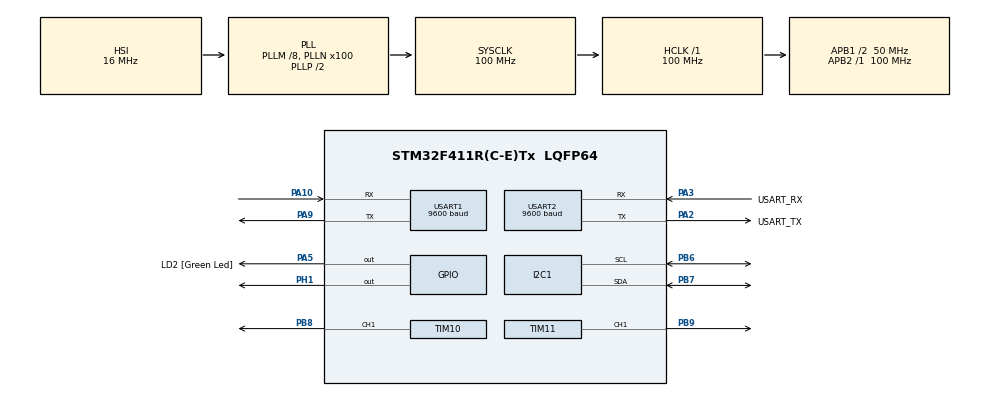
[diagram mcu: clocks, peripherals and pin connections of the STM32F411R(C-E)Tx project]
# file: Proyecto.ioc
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Dma.Request0=USART2_RX
Dma.Request1=USART2_TX
Dma.USART2_RX.0.Direction=DMA_PERIPH_TO_MEMORY
Dma.USART2_RX.0.FIFOMode=DMA_FIFOMODE_DISABLE
Dma.USART2_RX.0.Instance=DMA1_Stream5
Dma.USART2_RX.0.MemDataAlignment=DMA_MDATAALIGN_BYTE
Dma.USART2_RX.0.MemInc=DMA_MINC_ENABLE
Dma.USART2_RX.0.Mode=DMA_NORMAL
Dma.USART2_RX.0.PeriphDataAlignment=DMA_PDATAALIGN_BYTE
Dma.USART2_RX.0.PeriphInc=DMA_PINC_DISABLE
Dma.USART2_RX.0.Priority=DMA_PRIORITY_LOW
Dma.USART2_TX.1.Direction=DMA_MEMORY_TO_PERIPH
Dma.USART2_TX.1.FIFOMode=DMA_FIFOMODE_DISABLE
Dma.USART2_TX.1.Instance=DMA1_Stream6
Dma.USART2_TX.1.MemDataAlignment=DMA_MDATAALIGN_BYTE
Dma.USART2_TX.1.MemInc=DMA_MINC_ENABLE
Dma.USART2_TX.1.Mode=DMA_NORMAL
Dma.USART2_TX.1.PeriphDataAlignment=DMA_PDATAALIGN_BYTE
Dma.USART2_TX.1.PeriphInc=DMA_PINC_DISABLE
Dma.USART2_TX.1.Priority=DMA_PRIORITY_LOW
Mcu.Family=STM32F4
Mcu.Name=STM32F411R(C-E)Tx
Mcu.Package=LQFP64
NVIC.DMA1_Stream5_IRQn=true\:0\:0\:false\:false\:true\:false\:true\:true
NVIC.DMA1_Stream6_IRQn=true\:0\:0\:false\:false\:true\:false\:true\:true
NVIC.PriorityGroup=NVIC_PRIORITYGROUP_0
NVIC.TIM1_UP_TIM10_IRQn=true\:0\:0\:false\:false\:true\:true\:true\:true
NVIC.USART1_IRQn=true\:0\:0\:false\:false\:true\:true\:true\:true
NVIC.USART2_IRQn=true\:0\:0\:false\:false\:true\:true\:true\:true
PA10.Mode=Asynchronous
PA10.Signal=USART1_RX
PA2.GPIO_Label=USART_TX
PA2.Mode=Asynchronous
PA2.Signal=USART2_TX
PA3.GPIO_Label=USART_RX
PA3.Mode=Asynchronous
PA3.Signal=USART2_RX
PA5.GPIO_Label=LD2 [Green Led]
PA5.Signal=GPIO_Output
PA9.Mode=Asynchronous
PA9.Signal=USART1_TX
PB6.Mode=I2C
PB6.Signal=I2C1_SCL
PB7.Mode=I2C
PB7.Signal=I2C1_SDA
PB8.Signal=S_TIM10_CH1
PB9.Signal=S_TIM11_CH1
PH1\ -\ OSC_OUT.Signal=GPIO_Output
ProjectManager.HeapSize=0x200
ProjectManager.StackSize=0x400
ProjectManager.TargetToolchain=STM32CubeIDE
RCC.48MHZClocksFreq_Value=50000000
RCC.AHBFreq_Value=100000000
RCC.APB1CLKDivider=RCC_HCLK_DIV2
RCC.APB1Freq_Value=50000000
RCC.APB1TimFreq_Value=100000000
RCC.APB2Freq_Value=100000000
RCC.APB2TimFreq_Value=100000000
RCC.CortexFreq_Value=100000000
RCC.FLatency-AdvancedSettings=FLASH_LATENCY_3
RCC.HCLKFreq_Value=100000000
RCC.HSE_VALUE=8000000
RCC.HSI_VALUE=16000000
RCC.LSE_VALUE=32768
RCC.PLLM=8
RCC.PLLN=100
RCC.SYSCLKFreq_VALUE=100000000
RCC.SYSCLKSource=RCC_SYSCLKSOURCE_PLLCLK
RCC.VCOOutputFreq_Value=200000000
SH.S_TIM10_CH1.0=TIM10_CH1,PWM Generation1 CH1
SH.S_TIM11_CH1.0=TIM11_CH1,PWM Generation1 CH1
TIM1.Period=5000
TIM1.Prescaler=10000
TIM10.AutoReloadPreload=TIM_AUTORELOAD_PRELOAD_ENABLE
TIM10.Channel=TIM_CHANNEL_1
TIM10.OCPolarity_1=TIM_OCPOLARITY_LOW
TIM10.Period=20000
TIM10.Prescaler=100
TIM10.Pulse=1500
TIM11.AutoReloadPreload=TIM_AUTORELOAD_PRELOAD_ENABLE
TIM11.Channel=TIM_CHANNEL_1
TIM11.OCPolarity_1=TIM_OCPOLARITY_LOW
TIM11.Period=20000
TIM11.Prescaler=100
TIM11.Pulse=1500
USART1.BaudRate=9600
USART1.VirtualMode=VM_ASYNC
USART2.BaudRate=9600
USART2.VirtualMode=VM_ASYNC
VP_TIM10_VS_ClockSourceINT.Mode=Enable_Timer
VP_TIM11_VS_ClockSourceINT.Mode=Enable_Timer
VP_TIM1_VS_ClockSourceINT.Mode=Internal
board=NUCLEO-F411RE

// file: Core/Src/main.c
/* USER CODE BEGIN Header */
/**
  ******************************************************************************
  * @file           : main.c
  * @brief          : Main program body
  ******************************************************************************
  * @attention
  *
  * Copyright (c) 2025 STMicroelectronics.
  * All rights reserved.
  *
  * This software is licensed under terms that can be found in the LICENSE file
  * in the root directory of this software component.
  * If no LICENSE file comes with this software, it is provided AS-IS.
  *
  ******************************************************************************
  */
/* USER CODE END Header */
#include "main.h"

/* USER CODE BEGIN Includes */
#include "LiquidCrystal_I2C.h"
#include <math.h>
#include <stdio.h>
#include <stdlib.h>
#include <string.h>
/* USER CODE END Includes */

/* USER CODE BEGIN PD */
#define PI 3.14159265358979323846
#define DEFAULT_TIMEZONE -5 // Asumimos Colombia mientras busca satélites
#define RAD(d) ((d) * (PI / 180.0))
#define DEG(r) ((r) * (180.0 / PI))
#define MAXBUFFER 256 // define el tamaño maximo del buffer de comandos

//servos
#define SERVO_MIN_PWM 500  // Equivalente a 0° mecánicos
#define SERVO_MAX_PWM 2500 // Equivalente a 180° mecánicos
#define SERVO_RANGO_PWM (SERVO_MAX_PWM - SERVO_MIN_PWM)
#define UMBRAL_ANTIJUEGO_PWM 1

#define FACTOR_CONVERSION 11.111111f
/* USER CODE END PD */

I2C_HandleTypeDef hi2c1;

TIM_HandleTypeDef htim1;
TIM_HandleTypeDef htim10;
TIM_HandleTypeDef htim11;

UART_HandleTypeDef huart1;
UART_HandleTypeDef huart2;
DMA_HandleTypeDef hdma_usart2_rx;
DMA_HandleTypeDef hdma_usart2_tx;

/* USER CODE BEGIN PV */
LiquidCrystal_I2C_t lcd = {0};
uint8_t rx_byte;                    // Byte temporal de recepción
uint8_t rx_buffer[250];             // Buffer para la frase completa
uint8_t gps_processing_buffer[250]; // Buffer seguro para procesar en main
uint8_t rx_index = 0;               // Índice del buffer
volatile uint8_t flag_gps = 0;      // Bandera de aviso

uint16_t contador = 0;

// variables para control de servos
uint16_t anchoAzimut = 150;
uint16_t anchoElevacion = 150;

// estructuras de datos
char buffer0[40];          // buffer para la hora
char buffer1[40];          // buffer para la fecha
char buffer2[40];          // buffer para la latitud
char buffer3[40];          // buffer para la longitud
char buffer4[40];          // buffer para la elevacion
char buffer5[40];          // buffer para el azimut
char txConsoleBuffer[100]; // buffer para la transmision por consola

typedef struct {
  char hora[12];     // Formato: HHMMSS.SS
  char fecha[10];    // Formato: DDMMYY
  char latitud[15];  // Formato: DDMM.MMMM
  char lat_dir;      // N o S
  char longitud[15]; // Formato: DDDMM.MMMM
  char lon_dir;      // E o W
  uint8_t es_valido; // 1 si el GPS tiene señal (A), 0 si no (V)
  uint8_t
      tiene_hora; // bandera para ver si ya procesamos la hora en algun momento
} GPS_Data_t;

typedef struct {
  // Entradas (Convertidas desde el GPS)
  double latitud_deg;  // Grados decimales (Norte+, Sur-)
  double longitud_deg; // Grados decimales (Este+, Oeste-)
  int utc_ano;         // Ej: 2025
  int utc_mes;
  int utc_dia;
  int utc_hora;
  int utc_min;
  int utc_seg;
  // Salidas (Resultados del algoritmo solar)
  double elevacion; // Grados (0° horizonte, 90° zenit)
  double azimut;    // Grados (0° Norte, 90° Este, 180° Sur...)
} SolarCalc_t;

typedef struct {
  int dia;
  int mes;
  int ano;
  int hora;
  int min;
  int seg;
  int zona_horaria;
} LocalTime_t;

typedef struct {
  const char *commandName; // Nombre del comando (ej. "SETTIME")
  uint8_t commandId;       // Un ID único para cada comando
} CommandEntry;

typedef struct {
  // Banderas de control (0 = Usar GPS, 1 = Usar Manual)
  uint8_t usar_lat_manual;
  uint8_t usar_lon_manual;
  uint8_t simulacion_activa; // 0 = Tiempo Real, 1 = Acelerado

  // Valores manuales
  double lat_manual;
  double lon_manual;

  uint8_t dia_manual;
  uint8_t mes_manual;
  uint16_t anio_manual;
  uint8_t usar_fecha_manual; // 0 = Usar GPS, 1 = Usar Manual

  // Control de tiempo
  int factor_velocidad;       // Ej: 1, 60, 3600...
  LocalTime_t tiempo_interno; // Este es el reloj que corre en el sistema
  uint32_t ultimo_tick;       // Para calcular el delta de tiempo real
} SystemControl_t;

SystemControl_t sys_ctrl = {
    .factor_velocidad = 1,
    .tiempo_interno = {0},
    .ultimo_tick = 0,
    .usar_fecha_manual = 0,
    .dia_manual = 0,
    .mes_manual = 0,
    .anio_manual = 0
    // El resto de campos se ponen a 0 automáticamente si no los listas
};

// Instancia global
//SystemControl_t sys_ctrl = {0, 0, 0, 0.0, 0.0, 1, {0}, 0};

// enumeracion que almacena las identidades de los comandos y les asigna un
// natural
typedef enum {
  COMMANDIDGETLAT,
  COMMANDIDGETLON,
  COMMANDIDGETFEC,
  COMMANDIDGETHOR,
  COMMANDIDGETAZI,
  COMMANDIDGETELE,
  COMMANDIDSETLAT,
  COMMANDIDSETLON,
  COMMANDIDSETFEC,
  COMMANDIDSETVEL,
  COMMANDIDMODEGPS,
  COMMANDIDCLEAR,
  COMMANDIDHELP,
} CommandId;

const CommandEntry commandTable[] = {{"GetLatitud", COMMANDIDGETLAT},   //
                                     {"GetLongitud", COMMANDIDGETLON},  //
                                     {"GetFecha", COMMANDIDGETFEC},     //
                                     {"GetHora", COMMANDIDGETHOR},      //
                                     {"GetAzimut", COMMANDIDGETAZI},    //
                                     {"GetElevacion", COMMANDIDGETELE}, //
                                     {"SetLatitud", COMMANDIDSETLAT},   //
                                     {"SetLongitud", COMMANDIDSETLON},  //
									 {"SetFecha", COMMANDIDSETFEC},
                                     {"SetVelocidad", COMMANDIDSETVEL}, //
                                     {"ModeGPS", COMMANDIDMODEGPS},     //
                                     {"Clear", COMMANDIDCLEAR},         //
                                     {"Help", COMMANDIDHELP}};          //

const char *helpText = // texto del menu de ayuda que se imprime con el comando
                       // HELP o cuando se inicializa el sistema
    "--------------- GUIA DE COMANDOS ---------------\r\n"
    "Los comandos disponibles son:\r\n"
    "  - GetLatitud\r\n"
    "  - GetLongitud\r\n"
    "  - GetFecha\r\n"
    "  - GetHora\r\n"
    "  - GetAzimut\r\n"
    "  - GetElevacion\r\n"
    "  - SetLatitud <Grados decimales> <N/S>\r\n"
    "  - SetLongitud <Grados decimales> <E/W>\r\n"
	"  - SetFecha <dd> <mm> <aaaa>\r\n"
    "  - SetVelocidad <Factor>\r\n"
    "  - ModeGPS\r\n"
    "  - Clear\r\n"
    "  - Help\r\n"
    "------------------------------------------------\r\n";

const uint8_t dias_por_mes[] = {31, 28, 31, 30, 31, 30, 31, 31, 30, 31, 30, 31};
const uint8_t numberOfCommands = sizeof(commandTable) / sizeof(commandTable[0]);
typedef void (*CommandHandlerFunction)(char *parameters[],uint8_t numParameters); // va a guardar las caracteristicas del comando.
                            // Base y arreglo de parametros

GPS_Data_t mi_gps;        // Aqui se guardarán tus resultados
SolarCalc_t gps_solar;    // Aqui guardan los cálculos
LocalTime_t tiempo_local; // Aqui se guarda la hora local en tiempo real

uint8_t dataBufferA[MAXBUFFER]; // buffer de recepcion A
uint8_t dataBufferB[MAXBUFFER]; // buffer de recepcion B
volatile uint8_t currentRxBuffer = 0; // variable que indica el buffer disponilbel.
//0 para dataBufferA, 1 para dataBufferB
volatile uint16_t receivedDataSizeA = 0; // Tamaño datos buffer A
volatile uint16_t receivedDataSizeB = 0; // Tamaño datos buffer B
volatile uint8_t dataBufferAready = 0; // bandera que indica que el buffer A esta listo
volatile uint8_t dataBufferBready = 0; // bandera que indica que el buffer B esta listo
static char *commandParameters[5]; // arreglo que guarda los parametros que vienen con el comando
uint16_t last_pwm_azimut = 150;
uint16_t last_pwm_elevacion = 150;

/* USER CODE END PV */

void SystemClock_Config(void);
static void MX_GPIO_Init(void);
static void MX_DMA_Init(void);
static void MX_I2C1_Init(void);
static void MX_TIM10_Init(void);
static void MX_TIM11_Init(void);
static void MX_USART1_UART_Init(void);
static void MX_USART2_UART_Init(void);
static void MX_TIM1_Init(void);
/* USER CODE BEGIN PFP */
void Procesar_Trama_GPRMC(char *buffer);
void Procesar_Tiempo_GPS(void);
void Procesar_Ubicacion_GPS(void);
void Gestionar_Pantalla(void);
void Calcular_Posicion_Solar(void);
void Calcular_Hora_Local(LocalTime_t *local);
uint8_t es_bisiesto(int ano);
void parseCommand(uint8_t *dataBuffer, uint16_t dataSize);
void processReceivedData(void);
void Actualizar_Coordenadas_Calculo(void);
void Gestionar_Tiempo_Sistema(void);
void Incrementar_Tiempo_Simulado(LocalTime_t *t, int segundos_a_sumar);
void Actualizar_Servos(void);
int constrain_pwm(int valor);
/* USER CODE END PFP */

int main(void)
{

  /* MCU Configuration--------------------------------------------------------*/

  /* Reset of all peripherals, Initializes the Flash interface and the Systick. */
  HAL_Init();

  /* Configure the system clock */
  SystemClock_Config();

  /* Initialize all configured peripherals */
  MX_GPIO_Init();
  MX_DMA_Init();
  MX_I2C1_Init();
  MX_TIM10_Init();
  MX_TIM11_Init();
  MX_USART1_UART_Init();
  MX_USART2_UART_Init();
  MX_TIM1_Init();
  /* USER CODE BEGIN 2 */
  __HAL_DMA_DISABLE_IT(&hdma_usart2_rx, DMA_IT_HT);
  HAL_Delay(50);
  HAL_UART_Transmit_DMA(&huart2, (uint8_t *)helpText, strlen(helpText)); // imprimir el menu de ayuda
  HAL_UARTEx_ReceiveToIdle_DMA(&huart2, dataBufferA, MAXBUFFER); // empezar a escuchar  y almacenar en el buffer A

  LiquidCrystal_I2C_init(&lcd, &hi2c1, 0x23, 20, 4); // se llama a la funcion que inicializa la pantalla
  // se alimenta con el registro de identifiacion: 0x24, 20 caracteres por fila y 4 filas

  LiquidCrystal_I2C_clear(&lcd);
  LiquidCrystal_I2C_setCursor(&lcd, 0, 0); // posiciona el cursor en el primer caracter de la tercera fila
  LiquidCrystal_I2C_print(&lcd, "Se estan recibiendo"); // Longitud: 14 car

  LiquidCrystal_I2C_setCursor(&lcd, 0, 1); // posiciona el cursor en el primer caracter de la cuarta fila
  LiquidCrystal_I2C_print(&lcd, "los datos. Espere."); // Longitud: 8 car

  LiquidCrystal_I2C_setCursor(&lcd, 0, 2); // posiciona el cursor en el primer caracter de la primera fila
  LiquidCrystal_I2C_print(&lcd, "Esto puede tardar"); // Longitud: 12 car

  LiquidCrystal_I2C_setCursor(&lcd, 0, 3); // posiciona el cursos en el primer caracter de la segunda fila
  LiquidCrystal_I2C_print(&lcd, "algunos minutos."); // Longitud: 7 car

  HAL_UART_Receive_IT(&huart1, &rx_byte, 1);

  /* USER CODE END 2 */

  /* Infinite loop */
  /* USER CODE BEGIN WHILE */
  while (1)
  {
	    if (flag_gps == 1) {
	      flag_gps = 0; // Reset bandera

	      // 1. Parsear el texto crudo
	      // Usamos el buffer de procesamiento seguro, no el rx_buffer que puede estar cambiando
	      Procesar_Trama_GPRMC((char *)gps_processing_buffer);

	      // 2. PROCESAMIENTO DE TIEMPO
	      Procesar_Tiempo_GPS(); // el gps manda la hora incluso sin coordednadas espaciales

	      if (!sys_ctrl.simulacion_activa) {
	        Calcular_Hora_Local(&tiempo_local);}

	      // Esto asegura que tanto la pantalla como el cálculo solar usen la fecha
	      if (sys_ctrl.usar_fecha_manual) {
	          tiempo_local.dia = sys_ctrl.dia_manual;
	          tiempo_local.mes = sys_ctrl.mes_manual;
	          tiempo_local.ano = sys_ctrl.anio_manual;}

	      // 3. PROCESAMIENTO DE ESPACIO (Solo si es válido 'A')
	      if (mi_gps.es_valido) {
	        Procesar_Ubicacion_GPS();} // Convertir texto a double

	      Actualizar_Coordenadas_Calculo();
	      Gestionar_Tiempo_Sistema();
	      Calcular_Posicion_Solar();
	      Gestionar_Pantalla();
	      processReceivedData();
	      Actualizar_Servos();
	    }
    /* USER CODE END WHILE */

  }
}

void SystemClock_Config(void)
{
  RCC_OscInitTypeDef RCC_OscInitStruct = {0};
  RCC_ClkInitTypeDef RCC_ClkInitStruct = {0};

  /** Configure the main internal regulator output voltage
  */
  __HAL_RCC_PWR_CLK_ENABLE();
  __HAL_PWR_VOLTAGESCALING_CONFIG(PWR_REGULATOR_VOLTAGE_SCALE1);

  /** Initializes the RCC Oscillators according to the specified parameters
  * in the RCC_OscInitTypeDef structure.
  */
  RCC_OscInitStruct.OscillatorType = RCC_OSCILLATORTYPE_HSI;
  RCC_OscInitStruct.HSIState = RCC_HSI_ON;
  RCC_OscInitStruct.HSICalibrationValue = RCC_HSICALIBRATION_DEFAULT;
  RCC_OscInitStruct.PLL.PLLState = RCC_PLL_ON;
  RCC_OscInitStruct.PLL.PLLSource = RCC_PLLSOURCE_HSI;
  RCC_OscInitStruct.PLL.PLLM = 8;
  RCC_OscInitStruct.PLL.PLLN = 100;
  RCC_OscInitStruct.PLL.PLLP = RCC_PLLP_DIV2;
  RCC_OscInitStruct.PLL.PLLQ = 4;
  if (HAL_RCC_OscConfig(&RCC_OscInitStruct) != HAL_OK)
  {
    Error_Handler();
  }

  /** Initializes the CPU, AHB and APB buses clocks
  */
  RCC_ClkInitStruct.ClockType = RCC_CLOCKTYPE_HCLK|RCC_CLOCKTYPE_SYSCLK
                              |RCC_CLOCKTYPE_PCLK1|RCC_CLOCKTYPE_PCLK2;
  RCC_ClkInitStruct.SYSCLKSource = RCC_SYSCLKSOURCE_PLLCLK;
  RCC_ClkInitStruct.AHBCLKDivider = RCC_SYSCLK_DIV1;
  RCC_ClkInitStruct.APB1CLKDivider = RCC_HCLK_DIV2;
  RCC_ClkInitStruct.APB2CLKDivider = RCC_HCLK_DIV1;

  if (HAL_RCC_ClockConfig(&RCC_ClkInitStruct, FLASH_LATENCY_3) != HAL_OK)
  {
    Error_Handler();
  }
}

static void MX_I2C1_Init(void)
{

  hi2c1.Instance = I2C1;
  hi2c1.Init.ClockSpeed = 100000;
  hi2c1.Init.DutyCycle = I2C_DUTYCYCLE_2;
  hi2c1.Init.OwnAddress1 = 0;
  hi2c1.Init.AddressingMode = I2C_ADDRESSINGMODE_7BIT;
  hi2c1.Init.DualAddressMode = I2C_DUALADDRESS_DISABLE;
  hi2c1.Init.OwnAddress2 = 0;
  hi2c1.Init.GeneralCallMode = I2C_GENERALCALL_DISABLE;
  hi2c1.Init.NoStretchMode = I2C_NOSTRETCH_DISABLE;
  if (HAL_I2C_Init(&hi2c1) != HAL_OK)
  {
    Error_Handler();
  }

}

static void MX_TIM1_Init(void)
{

  TIM_ClockConfigTypeDef sClockSourceConfig = {0};
  TIM_MasterConfigTypeDef sMasterConfig = {0};

  htim1.Instance = TIM1;
  htim1.Init.Prescaler = 10000;
  htim1.Init.CounterMode = TIM_COUNTERMODE_UP;
  htim1.Init.Period = 5000;
  htim1.Init.ClockDivision = TIM_CLOCKDIVISION_DIV1;
  htim1.Init.RepetitionCounter = 0;
  htim1.Init.AutoReloadPreload = TIM_AUTORELOAD_PRELOAD_DISABLE;
  if (HAL_TIM_Base_Init(&htim1) != HAL_OK)
  {
    Error_Handler();
  }
  sClockSourceConfig.ClockSource = TIM_CLOCKSOURCE_INTERNAL;
  if (HAL_TIM_ConfigClockSource(&htim1, &sClockSourceConfig) != HAL_OK)
  {
    Error_Handler();
  }
  sMasterConfig.MasterOutputTrigger = TIM_TRGO_RESET;
  sMasterConfig.MasterSlaveMode = TIM_MASTERSLAVEMODE_DISABLE;
  if (HAL_TIMEx_MasterConfigSynchronization(&htim1, &sMasterConfig) != HAL_OK)
  {
    Error_Handler();
  }
  /* USER CODE BEGIN TIM1_Init 2 */
  HAL_TIM_Base_Start_IT(&htim1);
  /* USER CODE END TIM1_Init 2 */

}

static void MX_TIM10_Init(void)
{

  TIM_OC_InitTypeDef sConfigOC = {0};

  htim10.Instance = TIM10;
  htim10.Init.Prescaler = 100;
  htim10.Init.CounterMode = TIM_COUNTERMODE_UP;
  htim10.Init.Period = 20000;
  htim10.Init.ClockDivision = TIM_CLOCKDIVISION_DIV1;
  htim10.Init.AutoReloadPreload = TIM_AUTORELOAD_PRELOAD_ENABLE;
  if (HAL_TIM_Base_Init(&htim10) != HAL_OK)
  {
    Error_Handler();
  }
  if (HAL_TIM_PWM_Init(&htim10) != HAL_OK)
  {
    Error_Handler();
  }
  sConfigOC.OCMode = TIM_OCMODE_PWM1;
  sConfigOC.Pulse = 1500;
  sConfigOC.OCPolarity = TIM_OCPOLARITY_LOW;
  sConfigOC.OCFastMode = TIM_OCFAST_DISABLE;
  if (HAL_TIM_PWM_ConfigChannel(&htim10, &sConfigOC, TIM_CHANNEL_1) != HAL_OK)
  {
    Error_Handler();
  }
  /* USER CODE BEGIN TIM10_Init 2 */
  HAL_TIM_PWM_Start(&htim10, TIM_CHANNEL_1);
  /* USER CODE END TIM10_Init 2 */
  HAL_TIM_MspPostInit(&htim10);

}

static void MX_TIM11_Init(void)
{

  TIM_OC_InitTypeDef sConfigOC = {0};

  htim11.Instance = TIM11;
  htim11.Init.Prescaler = 100;
  htim11.Init.CounterMode = TIM_COUNTERMODE_UP;
  htim11.Init.Period = 20000;
  htim11.Init.ClockDivision = TIM_CLOCKDIVISION_DIV1;
  htim11.Init.AutoReloadPreload = TIM_AUTORELOAD_PRELOAD_ENABLE;
  if (HAL_TIM_Base_Init(&htim11) != HAL_OK)
  {
    Error_Handler();
  }
  if (HAL_TIM_PWM_Init(&htim11) != HAL_OK)
  {
    Error_Handler();
  }
  sConfigOC.OCMode = TIM_OCMODE_PWM1;
  sConfigOC.Pulse = 1500;
  sConfigOC.OCPolarity = TIM_OCPOLARITY_LOW;
  sConfigOC.OCFastMode = TIM_OCFAST_DISABLE;
  if (HAL_TIM_PWM_ConfigChannel(&htim11, &sConfigOC, TIM_CHANNEL_1) != HAL_OK)
  {
    Error_Handler();
  }
  /* USER CODE BEGIN TIM11_Init 2 */
  HAL_TIM_PWM_Start(&htim11, TIM_CHANNEL_1);
  /* USER CODE END TIM11_Init 2 */
  HAL_TIM_MspPostInit(&htim11);

}

static void MX_USART1_UART_Init(void)
{

  huart1.Instance = USART1;
  huart1.Init.BaudRate = 9600;
  huart1.Init.WordLength = UART_WORDLENGTH_8B;
  huart1.Init.StopBits = UART_STOPBITS_1;
  huart1.Init.Parity = UART_PARITY_NONE;
  huart1.Init.Mode = UART_MODE_TX_RX;
  huart1.Init.HwFlowCtl = UART_HWCONTROL_NONE;
  huart1.Init.OverSampling = UART_OVERSAMPLING_16;
  if (HAL_UART_Init(&huart1) != HAL_OK)
  {
    Error_Handler();
  }
  /* USER CODE BEGIN USART1_Init 2 */
  HAL_UART_Receive_IT(&huart1, &rx_byte, 1);
  /* USER CODE END USART1_Init 2 */

}

static void MX_USART2_UART_Init(void)
{

  huart2.Instance = USART2;
  huart2.Init.BaudRate = 9600;
  huart2.Init.WordLength = UART_WORDLENGTH_8B;
  huart2.Init.StopBits = UART_STOPBITS_1;
  huart2.Init.Parity = UART_PARITY_NONE;
  huart2.Init.Mode = UART_MODE_TX_RX;
  huart2.Init.HwFlowCtl = UART_HWCONTROL_NONE;
  huart2.Init.OverSampling = UART_OVERSAMPLING_16;
  if (HAL_UART_Init(&huart2) != HAL_OK)
  {
    Error_Handler();
  }

}

static void MX_DMA_Init(void)
{

  /* DMA controller clock enable */
  __HAL_RCC_DMA1_CLK_ENABLE();

  /* DMA interrupt init */
  /* DMA1_Stream5_IRQn interrupt configuration */
  HAL_NVIC_SetPriority(DMA1_Stream5_IRQn, 0, 0);
  HAL_NVIC_EnableIRQ(DMA1_Stream5_IRQn);
  /* DMA1_Stream6_IRQn interrupt configuration */
  HAL_NVIC_SetPriority(DMA1_Stream6_IRQn, 0, 0);
  HAL_NVIC_EnableIRQ(DMA1_Stream6_IRQn);

}

static void MX_GPIO_Init(void)
{
  GPIO_InitTypeDef GPIO_InitStruct = {0};

  /* GPIO Ports Clock Enable */
  __HAL_RCC_GPIOH_CLK_ENABLE();
  __HAL_RCC_GPIOA_CLK_ENABLE();
  __HAL_RCC_GPIOB_CLK_ENABLE();

  /*Configure GPIO pin Output Level */
  HAL_GPIO_WritePin(GPIOH, GPIO_PIN_1, GPIO_PIN_RESET);

  /*Configure GPIO pin Output Level */
  HAL_GPIO_WritePin(LD2_GPIO_Port, LD2_Pin, GPIO_PIN_RESET);

  /*Configure GPIO pin : PH1 */
  GPIO_InitStruct.Pin = GPIO_PIN_1;
  GPIO_InitStruct.Mode = GPIO_MODE_OUTPUT_PP;
  GPIO_InitStruct.Pull = GPIO_NOPULL;
  GPIO_InitStruct.Speed = GPIO_SPEED_FREQ_LOW;
  HAL_GPIO_Init(GPIOH, &GPIO_InitStruct);

  /*Configure GPIO pin : LD2_Pin */
  GPIO_InitStruct.Pin = LD2_Pin;
  GPIO_InitStruct.Mode = GPIO_MODE_OUTPUT_PP;
  GPIO_InitStruct.Pull = GPIO_NOPULL;
  GPIO_InitStruct.Speed = GPIO_SPEED_FREQ_LOW;
  HAL_GPIO_Init(LD2_GPIO_Port, &GPIO_InitStruct);

}

/* USER CODE BEGIN 4 */

// Función para extraer Hora, Fecha y Coordenadas de $GPRMC
void Procesar_Trama_GPRMC(char *buffer) {
  // 1. Verificamos encabezado
  if (strncmp(buffer, "$GPRMC", 6) != 0)
    return;

  // Punteros para recorrer la cadena manualmente
  char *start = buffer;
  char *end;
  int campo = 0;

  // Recorremos tod el buffer buscando comas o el asterisco final
  while ((end = strpbrk(start, ",*")) != NULL) {
    // Temporalmente convertimos la coma en un final de string '\0' para poder leer solo esa parte
    char backup_char = *end;
    *end = '\0';

    // 'start' ahora apunta al texto del campo actual
    // Calculamos longitud para no copiar vacíos
    if (strlen(start) > 0) {
      switch (campo) {
      case 1: // Hora
        strncpy(mi_gps.hora, start, sizeof(mi_gps.hora) - 1);
        // Aseguramos terminación nula por seguridad
        mi_gps.hora[sizeof(mi_gps.hora) - 1] = '\0';
        break;
      case 2: // Estado (A/V)
        mi_gps.es_valido = (start[0] == 'A') ? 1 : 0;
        break;
      case 3: // Latitud
        strncpy(mi_gps.latitud, start, sizeof(mi_gps.latitud) - 1);
        break;
      case 4: // Latitud N/S
        mi_gps.lat_dir = start[0];
        break;
      case 5: // Longitud
        strncpy(mi_gps.longitud, start, sizeof(mi_gps.longitud) - 1);
        break;
      case 6: // Longitud E/W
        mi_gps.lon_dir = start[0];
        break;
      case 9: // Fecha (Ahora sí llegará aquí aunque la velocidad esté vacía)
        strncpy(mi_gps.fecha, start, sizeof(mi_gps.fecha) - 1);
        break;
      }
    } else {
      // Si el campo está vacío (ej. velocidad), no hacemos nada, pero el contador 'campo' aumentará igual.
    }

    // Restauramos el caracter
    *end = backup_char;

    // Si encontramos el asterisco, terminamos
    if (*end == '*')
      break;

    // Avanzamos al siguiente caracter después de la coma
    start = end + 1;
    campo++;
  }
}

void Gestionar_Pantalla(void) {
  if (!mi_gps.tiene_hora)
    return;
  // mostrar hora y fecha (cuando se tengan datos de la hora unicamente)
  LiquidCrystal_I2C_setCursor(&lcd, 0, 0);
  if (mi_gps.es_valido) {
    sprintf(buffer0, "Hora local: %02d:%02d:%02d", tiempo_local.hora, tiempo_local.min, tiempo_local.seg);}
  else {
    sprintf(buffer0, "Hora col: %02d:%02d:%02d  ", tiempo_local.hora, tiempo_local.min, tiempo_local.seg);}

  LiquidCrystal_I2C_print(&lcd, buffer0);
  LiquidCrystal_I2C_setCursor(&lcd, 0, 1);

  char fuente_tiempo = sys_ctrl.simulacion_activa ? 'S' : (sys_ctrl.usar_fecha_manual ? 'M' : 'G');
  sprintf(buffer1, "Fecha: %02d/%02d/%04d %c ", tiempo_local.dia,  tiempo_local.mes, tiempo_local.ano, fuente_tiempo);
  LiquidCrystal_I2C_print(&lcd, buffer1);

  if (mi_gps.es_valido) {
    LiquidCrystal_I2C_setCursor(&lcd, 0, 2);
    // [S] = Simulado/Acelerado, [G] = GPS Real
    char src_lon = sys_ctrl.usar_lon_manual ? 'M' : 'G';
    char src_lat = sys_ctrl.usar_lat_manual ? 'M' : 'G';
    char src_time = sys_ctrl.simulacion_activa ? 'S' : 'G';
    char src_fecha = sys_ctrl.usar_fecha_manual ? 'M' : 'G';
    char src_calc = 'G'; // Asumimos GPS por defecto
    if (src_time == 'S' || src_lat == 'M' || src_lon == 'M' || src_fecha == 'M') {
      src_calc = 'M';
    } // El resultado es matemático/manual

    sprintf(buffer5, "Azimut: %06.2f%c %c   ", gps_solar.azimut, 0xDF, src_calc);
    LiquidCrystal_I2C_print(&lcd, buffer5);

    LiquidCrystal_I2C_setCursor(&lcd, 0, 3);
    sprintf(buffer4, "Elevacion: %06.2f%c %c", gps_solar.elevacion, 0xDF, src_calc);
    LiquidCrystal_I2C_print(&lcd, buffer4);}
}

void Procesar_Tiempo_GPS(void) {
  // Solo procedemos si la cadena de hora tiene datos
  if (strlen(mi_gps.hora) < 6)
    return;//si es menor que 6, no hacemos nada

  // Hora UTC
  double h_val = atof(mi_gps.hora);
  gps_solar.utc_hora = (int)(h_val / 10000);
  gps_solar.utc_min = (int)((h_val - (gps_solar.utc_hora * 10000)) / 100);
  gps_solar.utc_seg = (int)h_val % 100;

  // Fecha UTC
  if (strlen(mi_gps.fecha) == 6) {
    int f_val = atoi(mi_gps.fecha);
    gps_solar.utc_dia = f_val / 10000;
    gps_solar.utc_mes = (f_val % 10000) / 100;
    gps_solar.utc_ano = 2000 + (f_val % 100);
    mi_gps.tiene_hora = 1;
  }
}

void Procesar_Ubicacion_GPS(void) {
  // Latitud
  double raw = atof(mi_gps.latitud);
  int deg = (int)(raw / 100);
  gps_solar.latitud_deg = deg + ((raw - (deg * 100)) / 60.0);
  if (mi_gps.lat_dir == 'S')
    gps_solar.latitud_deg *= -1.0;

  // Longitud
  raw = atof(mi_gps.longitud);
  deg = (int)(raw / 100);
  gps_solar.longitud_deg = deg + ((raw - (deg * 100)) / 60.0);
  if (mi_gps.lon_dir == 'W')
    gps_solar.longitud_deg *= -1.0;
}

void Calcular_Posicion_Solar(void) {
  // Variables auxiliares
	int Y, M, D;
  double d_juliano, n_dia;
  double g_media, l_media, l_ecliptica;
  double oblicuidad, declinacion, ascension_recta;
  double gmst, lmst, angulo_horario;

  if (sys_ctrl.usar_fecha_manual) {
       // Si el usuario fijó fecha manual, usamos esa
       Y = sys_ctrl.anio_manual;
       M = sys_ctrl.mes_manual;
       D = sys_ctrl.dia_manual;}
  else {
       // Si no, usamos la fecha que viene del GPS o de la Simulación
       Y = gps_solar.utc_ano;
       M = gps_solar.utc_mes;
       D = gps_solar.utc_dia;}

  double H_decimal = gps_solar.utc_hora + (gps_solar.utc_min / 60.0) +
                     (gps_solar.utc_seg / 3600.0);

  // 1. Calcular Día Juliano (Algoritmo estándar)
  if (M <= 2) {
    Y -= 1;
    M += 12;
  }
  int A = Y / 100;
  int B = 2 - A + (A / 4);
  d_juliano =
      (int)(365.25 * (Y + 4716)) + (int)(30.6001 * (M + 1)) + D + B - 1524.5;
  d_juliano += H_decimal / 24.0; // Añadir fracción del día

  // 2. Siglos Julianos desde J2000.0
  n_dia = d_juliano - 2451545.0;

  // 3. Coordenadas solares medias (en Grados)
  l_media = fmod(280.460 + 0.9856474 * n_dia, 360.0);
  g_media = fmod(357.528 + 0.9856003 * n_dia, 360.0);
  if (l_media < 0)
    l_media += 360;
  if (g_media < 0)
    g_media += 360;

  // 4. Longitud Eclíptica
  l_ecliptica = l_media + 1.915 * sin(RAD(g_media)) + 0.020 * sin(RAD(2 * g_media));

  // 5. Oblicuidad de la eclíptica (Inclinación de la Tierra)
  oblicuidad = 23.439 - 0.0000004 * n_dia;

  // 6. Ascensión Recta (RA) y Declinación (Dec)
  double sin_l = sin(RAD(l_ecliptica));
  double cos_l = cos(RAD(l_ecliptica));
  double cos_eps = cos(RAD(oblicuidad));
  double sin_eps = sin(RAD(oblicuidad));

  declinacion = DEG(asin(sin_eps * sin_l));
  ascension_recta = DEG(atan2(cos_eps * sin_l, cos_l));

  // 7. Tiempo Sideral de Greenwich (GMST) y Local (LMST)
  gmst = 6.697375 + 0.0657098242 * n_dia + H_decimal;
  gmst = fmod(gmst, 24.0);
  if (gmst < 0)
    gmst += 24.0;

  lmst = gmst + (gps_solar.longitud_deg / 15.0); // Longitud en horas
  lmst = fmod(lmst, 24.0);
  if (lmst < 0)
    lmst += 24.0;

  // 8. Ángulo Horario (Hour Angle - omega) en grados convertir RA a horas (dividiendo por 15) para restar
  angulo_horario = (lmst * 15.0) - ascension_recta;
  while (angulo_horario > 180)
    angulo_horario -= 360;
  while (angulo_horario < -180)
    angulo_horario += 360;

  // 9. COORDENADAS HORIZONTALES FINALES (Azimut y Elevación)
  double lat_rad = RAD(gps_solar.latitud_deg);
  double dec_rad = RAD(declinacion);
  double omega_rad = RAD(angulo_horario);

  // Elevación (Altura solar)
  double sin_el = sin(lat_rad) * sin(dec_rad) +
                  cos(lat_rad) * cos(dec_rad) * cos(omega_rad);
  gps_solar.elevacion = DEG(asin(sin_el));

  // Azimut (Desde el Norte, sentido horario)
  double y = -sin(omega_rad);
  double x = tan(dec_rad) * cos(lat_rad) - sin(lat_rad) * cos(omega_rad);
  gps_solar.azimut = DEG(atan2(y, x));

  if (gps_solar.azimut < 0)
    gps_solar.azimut += 360.0;
}

uint8_t es_bisiesto(int ano) {
  return ((ano % 4 == 0 && ano % 100 != 0) || (ano % 400 == 0));
}

void Calcular_Hora_Local(LocalTime_t *local) {
  if (mi_gps.es_valido) {
    // Si tenemos ubicación, calculamos la zona real
    local->zona_horaria = (int)(round(gps_solar.longitud_deg / 15.0));
  } else {
    // Si NO tenemos ubicación, usamos la por defecto (Colombia)
    local->zona_horaria = DEFAULT_TIMEZONE;
  }

  // 1. Calcular Zona Horaria automática basada en la Longitud
  // Se divide por 15.0 y se redondea.

  // Copiamos datos base
  local->seg = gps_solar.utc_seg;
  local->min = gps_solar.utc_min;
  local->hora = gps_solar.utc_hora + local->zona_horaria; // Aplicamos offset

  local->dia = gps_solar.utc_dia;
  local->mes = gps_solar.utc_mes;
  local->ano = gps_solar.utc_ano;

  // CASO A: Pasamos al día anterior (Ej: 02:00 UTC - 5 = -3)
  if (local->hora < 0) {
    local->hora += 24;
    local->dia--; // Restamos un día

    // Si el día llega a 0, hay que volver al mes anterior
    if (local->dia == 0) {
      local->mes--;
      if (local->mes ==
          0) { // Si bajamos de Enero, vamos a Dic del año anterior
        local->mes = 12;
        local->ano--;
      }
      // Asignar el último día del mes nuevo
      if (local->mes == 2 && es_bisiesto(local->ano)) {
        local->dia = 29;
      } else {
        local->dia = dias_por_mes[local->mes - 1];
      }
    }
  }

  // CASO B: Pasamos al día siguiente (Ej: 23:00 UTC + 2 = 25)
  else if (local->hora >= 24) {
    local->hora -= 24;
    local->dia++; // Sumamos un día

    // Verificar si nos pasamos de los días del mes actual
    int dias_este_mes = dias_por_mes[local->mes - 1];
    if (local->mes == 2 && es_bisiesto(local->ano))
      dias_este_mes = 29;

    if (local->dia > dias_este_mes) {
      local->dia = 1; // Primero del siguiente mes
      local->mes++;
      if (local->mes > 12) { // Si pasamos Diciembre, Feliz Año Nuevo
        local->mes = 1;
        local->ano++;
      }
    }
  }
}

void processReceivedData(void){// funcion que llama a quien procesa el comando recibido
  if (dataBufferAready == 1){// si se levanta la bandera de recepcion en el bufferA
    dataBufferAready = 0; // bajamos la bandera
    parseCommand(dataBufferA, receivedDataSizeA);} //y llamamos a quien procesa y reacciona al comando recibido

  if (dataBufferBready == 1){//si se levanta la bandera de recepcion en el bufferB
    dataBufferBready = 0;//se baja la bandera
    parseCommand(dataBufferB, receivedDataSizeB);} // y llamamos a quien procesa y reacciona al comando recibido
}

// funcion busca el comando recibido y le asocia el numero correspondiente de la enumeracion
static int findCommandIndex(const char *name) {
  for (uint8_t i = 0; i < numberOfCommands; i++) {
    if (strcmp(name, commandTable[i].commandName) == 0) {
      return i;} // retorna el indice de la enumeracion que coincidió
  }
  return -1;
} // Comando no encontrado

void parseCommand(uint8_t *dataBuffer, uint16_t dataSize){// funcion que recibe el buffer
	//y la cantidad de caracteres recibidos sin incluir el \0 al final. La dma no lo agrega
  if (dataBuffer == NULL || dataSize == 0){ // si el buffer está vacio o solo contiene el caracter nulo
    // manejarError("ERROR: Buffer de datos nulo o vacío\r\n");
    return;}

  if (dataSize >= MAXBUFFER){ // si el tamaño del comando supera el tamaño del buffer
    dataBuffer[MAXBUFFER - 1] = '\0';}// reemplaza el ultimo caracter por el nulo
  else { // si no lo supera
    dataBuffer[dataSize] = '\0';}//despues del ultimo caracter escribir el nulo

  char *token;// puntero para almacenar cada parte del comando
  uint8_t paramCount = 0; // inicializamos una variable que va almacenar la cantidad de parametros del comando

  // se usa " \r\n" como delimitador, permitiendo distingir separaciones de enter o espacio
  token = strtok(
      (char *)dataBuffer,
      " \r\n"); // Se separan los parametros por " \r\n" y se alamcenan en token
  if (token == NULL){ // No se encontró ningún token válido.
    return;
  } // salir y no hacer nada mas

  char *commandName = token;
  // bucle para obtener los parametros que vienen en el comando
  // solamente considerando como delimitador el espacio
  while ((token = strtok(NULL, " ")) != NULL && paramCount < 3){
    commandParameters[paramCount++] = token;}//y se alamcenan en commandParameters

  // se busca el comando en la tabla
  int commandIndex = findCommandIndex(commandName);

  if (commandIndex == -1){// Comando no reconocido
    HAL_UART_Transmit_DMA(&huart2, (uint8_t *)"Comando no reconocido\r\n", strlen("Comando no reconocido\r\n"));
    return;}

  char src_time = sys_ctrl.simulacion_activa ? 'S' : 'G';
  char src_lat = sys_ctrl.usar_lat_manual ? 'M' : 'G';
  char src_lon = sys_ctrl.usar_lon_manual ? 'M' : 'G';
  char src_fecha = sys_ctrl.usar_fecha_manual ? 'M' : 'G';
  char src_calc = 'G'; // Asumimos GPS por defecto
  if (src_time == 'S' || src_lat == 'M' || src_lon == 'M' || src_fecha == 'M'){
    src_calc = 'M';}//El resultado es matemático/manual

  if (src_time == 'S' || src_fecha == 'M'){
    src_time = 'M';}//El resultado es matemático/manual
  const CommandEntry *cmdEntry = &commandTable[commandIndex];
  switch (cmdEntry->commandId){
    /*
        COMMANDIDGETLAT,//
        COMMANDIDGETLON,//
        COMMANDIDGETFEC,//
        COMMANDIDGETHOR,//
        COMMANDIDGETAZI,//
        COMMANDIDGETELE,
        COMMANDIDSETLAT,
        COMMANDIDSETLON,
        COMMANDIDSETVEL,
        COMMANDIDMODEGPS,
        COMMANDIDCLEAR,
        COMMANDIDHELP,
     */
  case COMMANDIDGETLAT:
    sprintf(txConsoleBuffer, "Latitud: %.5f %c [%c]\r\n", fabs(gps_solar.latitud_deg),
            (gps_solar.latitud_deg >= 0) ? 'N' : 'S', src_lat);
    HAL_UART_Transmit_DMA(&huart2, (uint8_t *)txConsoleBuffer, strlen(txConsoleBuffer));
    break;

  case COMMANDIDGETLON:
    sprintf(txConsoleBuffer, "Longitud: %.5f %c [%c]\r\n",fabs(gps_solar.longitud_deg),
            (gps_solar.longitud_deg >= 0) ? 'E' : 'W', src_lon);
    HAL_UART_Transmit_DMA(&huart2, (uint8_t *)txConsoleBuffer, strlen(txConsoleBuffer));
    break;

  case COMMANDIDGETFEC:
    sprintf(txConsoleBuffer, "Fecha: %02d/%02d/%04d [%c]\r\n", tiempo_local.dia,
            tiempo_local.mes, tiempo_local.ano, src_time);
    HAL_UART_Transmit_DMA(&huart2, (uint8_t *)txConsoleBuffer, strlen(txConsoleBuffer));
    break;

  case COMMANDIDGETHOR:
    sprintf(txConsoleBuffer, "Hora Local: %02d:%02d:%02d [%c]\r\n",
            tiempo_local.hora, tiempo_local.min, tiempo_local.seg, src_time);
    HAL_UART_Transmit_DMA(&huart2, (uint8_t *)txConsoleBuffer, strlen(txConsoleBuffer));
    break;

  case COMMANDIDGETAZI:
    sprintf(txConsoleBuffer, "Azimut: %.2f° [%c]\r\n", gps_solar.azimut, src_calc);
    HAL_UART_Transmit_DMA(&huart2, (uint8_t *)txConsoleBuffer, strlen(txConsoleBuffer));
    break;

  case COMMANDIDGETELE:
    sprintf(txConsoleBuffer, "Elevacion: %.2f° [%c]\r\n", gps_solar.elevacion, src_calc);
    HAL_UART_Transmit(&huart2, (uint8_t *)txConsoleBuffer, strlen(txConsoleBuffer), 100);
    break;

  case COMMANDIDSETLAT: // mostrar el valor de la latitud
    // condiciones para que se ejecute correctamnete:
    // valorLatitud entre 0 y 90, cantidad de parametros igual a 2
    // commandParameters[0] > 90.0f, paramCount == 2, commandParameters[0] <
    // -90.0f con base a lo anterior se hace el manejo de las excepciones y se
    // imprime el mensaje. Solo en los casos que el error es critico no se
    // ejecuta la accion
    if (paramCount != 2){
      HAL_UART_Transmit_DMA(&huart2, (uint8_t *)"Se requieren 2 parametros\r\n",
                            strlen("Se requieren 2 parametros\r\n"));
      break;}

    float valorLatitud = atof(commandParameters[0]); //

    if (valorLatitud < 0.0f || valorLatitud > 90.0f){
      HAL_UART_Transmit_DMA(&huart2,(uint8_t *)"El valor de la latitud esta por fuera del rango (0 a 90)\r\n",
          strlen("El valor de la latitud esta por fuera del rango (0 a 90)\r\n"));
      break;}

    if ((strcmp(commandParameters[1], "S\r\n") != 0) && (strcmp(commandParameters[1], "N\r\n") != 0)){
      HAL_UART_Transmit_DMA(&huart2, (uint8_t *)"No se reconoce la direccion (N o S)\r\n",
          strlen("No se reconoce la direccion (N o S)\r\n"));
      break;}

    if (strcmp(commandParameters[1], "N\r\n") == 0){
      valorLatitud = valorLatitud * (1.0f);}

    if (strcmp(commandParameters[1], "S\r\n") == 0){
      valorLatitud = valorLatitud * (-1.0f);}

    HAL_UART_Transmit_DMA(&huart2, (uint8_t *)"Fijando latitud\r\n", strlen("Fijando latitud\r\n"));
    sys_ctrl.lat_manual = valorLatitud;
    sys_ctrl.usar_lat_manual = 1; // Activamos bandera manual solo para latitud
    break;

  case COMMANDIDSETLON: // mostrar el valor de la latitud
    // condiciones para que se ejecute correctamnete:
    // valorLatitud entre 0 y 90, cantidad de parametros igual a 2
    // commandParameters[0] > 90.0f, paramCount == 2, commandParameters[0] <
    // -90.0f con base a lo anterior se hace el manejo de las excepciones y se
    // imprime el mensaje. Solo en los casos que el error es critico no se
    // ejecuta la accion
    if (paramCount != 2){
      HAL_UART_Transmit_DMA(&huart2, (uint8_t *)"Se requieren 2 parametros\r\n",
                            strlen("Se requieren 2 parametros\r\n"));
      break;}

    float valorLongitud = atof(commandParameters[0]); //

    if (valorLongitud < 0.0f || valorLongitud > 180.0f){
      HAL_UART_Transmit_DMA(&huart2,(uint8_t *)"El valor de la longitud esta por fuera del rango (0 a 180)\r\n",
          strlen("El valor de la latitud esta por fuera del rango (0 a 180)\r\n"));
      break;}

    if ((strcmp(commandParameters[1], "E\r\n") != 0) && (strcmp(commandParameters[1], "W\r\n") != 0)){
      HAL_UART_Transmit_DMA(&huart2, (uint8_t *)"No se reconoce la direccion (E o W)\r\n",
          strlen("No se reconoce la direccion (E o W)\r\n"));
      break;}

    if (strcmp(commandParameters[1], "E\r\n") == 0){
      valorLongitud = valorLongitud * (1.0f);}

    if (strcmp(commandParameters[1], "W\r\n") == 0){
      valorLongitud = valorLongitud * (-1.0f);}

    HAL_UART_Transmit_DMA(&huart2, (uint8_t *)"Fijando longitud\r\n", strlen("Fijando longitud\r\n"));
    sys_ctrl.lon_manual = valorLongitud;
    sys_ctrl.usar_lon_manual = 1; // Activamos bandera manual solo para longitud
    break;

  case COMMANDIDSETFEC:
	    if (paramCount != 3){
	      HAL_UART_Transmit_DMA(&huart2, (uint8_t *)"Error: Se requieren 3 parametros (DD MM AAAA)\r\n",
	                            strlen("Error: Se requieren 3 parametros (DD MM AAAA)\r\n"));
	      break;}

	    // Convertimos los cadenas a enteros usando atoi
	    // atoi es seguro porque ignora el \r\n que pueda venir en el último parámetro
	    int dia_in = atoi(commandParameters[0]);
	    int mes_in = atoi(commandParameters[1]);
	    int anio_in = atoi(commandParameters[2]);

	    // --- VALIDACIONES DE RANGO ---

	    // 1. Validar Año
	    if (anio_in < 2000 || anio_in > 2100){
	      HAL_UART_Transmit_DMA(&huart2, (uint8_t *)"Error: Anio fuera de rango (2000-2100)\r\n",
	          strlen("Error: Anio fuera de rango (2000-2100)\r\n"));
	      break;}

	    // 2. Validar Mes (1 a 12)
	    if (mes_in < 1 || mes_in > 12){
	      HAL_UART_Transmit_DMA(&huart2, (uint8_t *)"Error: Mes fuera de rango (1-12)\r\n",
	          strlen("Error: Mes fuera de rango (1-12)\r\n"));
	      break;}

	    // 3. Validar Día (Validación básica 1-31)
	    if (dia_in < 1 || dia_in > 31){
	       HAL_UART_Transmit_DMA(&huart2, (uint8_t *)"Error: Dia fuera de rango (1-31)\r\n",
	          strlen("Error: Dia fuera de rango (1-31)\r\n"));
	       break;}

	    // Validación extra: Meses de 30 días y Febrero
	    if ((mes_in == 4 || mes_in == 6 || mes_in == 9 || mes_in == 11) && dia_in > 30) {
	       HAL_UART_Transmit_DMA(&huart2, (uint8_t *)"Error: Ese mes solo tiene 30 dias\r\n",
	          strlen("Error: Ese mes solo tiene 30 dias\r\n"));
	       break;}
	    if (mes_in == 2 && dia_in > 29) { // Simplificado (acepta 29 para bisiestos siempre)
	       HAL_UART_Transmit_DMA(&huart2, (uint8_t *)"Error: Febrero no tiene mas de 29 dias\r\n",
	          strlen("Error: Febrero no tiene mas de 29 dias\r\n"));
	       break;}

	    HAL_UART_Transmit_DMA(&huart2, (uint8_t *)"Fijando fecha\r\n", strlen("Fijando fecha\r\n"));
	      sys_ctrl.dia_manual = (uint8_t)dia_in;
	      sys_ctrl.mes_manual = (uint8_t)mes_in;
	      sys_ctrl.anio_manual = (uint16_t)anio_in;

	      // Activamos la bandera para que el main sepa que debe ignorar la fecha GPS
	      sys_ctrl.usar_fecha_manual = 1;
	  break;

  case COMMANDIDSETVEL:
    float factorVelocidad = atoi(commandParameters[0]);
    if (factorVelocidad < 1 || factorVelocidad > 1440.0f) {
      HAL_UART_Transmit_DMA(&huart2, (uint8_t *)"El valor del factor esta por fuera del rango (1 a 1440)\r\n",
                            strlen("El valor del factor esta por fuera del rango (1 a 1440)\r\n"));
      break;}

    sys_ctrl.factor_velocidad = factorVelocidad;
    sys_ctrl.simulacion_activa = 1; // Activamos modo simulación
    sys_ctrl.tiempo_interno = tiempo_local;
    sys_ctrl.ultimo_tick = HAL_GetTick();
    HAL_UART_Transmit_DMA(&huart2, (uint8_t *)"Fijando factor de velocidad\r\n", strlen("Fijando factor de velocidad\r\n"));

    break;

  case COMMANDIDMODEGPS:
    sys_ctrl.usar_lat_manual = 0;
    sys_ctrl.usar_lon_manual = 0;
    sys_ctrl.simulacion_activa = 0;
    sys_ctrl.factor_velocidad = 1;
    sys_ctrl.usar_fecha_manual = 0;
    HAL_UART_Transmit_DMA(&huart2, (uint8_t *)"Restaurando al modo GPS\r\n", strlen("Restaurando al modo GPS\r\n"));
    break;

  case COMMANDIDCLEAR:
    HAL_UART_Transmit_DMA(
        &huart2, (uint8_t *)"\x1b[2J",
        strlen("\x1b[2J")); // limpiar la consola por comandos
   break;

  case COMMANDIDHELP:
    HAL_UART_Transmit_DMA(&huart2, (uint8_t *)helpText, strlen(helpText)); // imprimir el menu de ayuda
    break;

  default:
    HAL_UART_Transmit_DMA(&huart2, (uint8_t *)"Error1\r\n", strlen("Error1\r\n")); // caso muy improbable
    break;
  }
}

// Llama a esta función justo antes de Calcular_Posicion_Solar()
void Actualizar_Coordenadas_Calculo(void) {
  // 1. Latitud: Si es manual usa la guardada, si no, la del GPS
  if (sys_ctrl.usar_lat_manual) {
    gps_solar.latitud_deg = sys_ctrl.lat_manual;
  } else {
    // Asumimos que Procesar_Ubicacion_GPS() ya llenó gps_solar con datos GPS no hacemos nada, dejamos el valor del GPS
  }

  // 2. Longitud: Independiente de la latitud
  if (sys_ctrl.usar_lon_manual) {
    gps_solar.longitud_deg = sys_ctrl.lon_manual;
  } else {
    // Dejamos el valor del GPS
  }
}

void Gestionar_Tiempo_Sistema(void) {
  uint32_t tick_actual = HAL_GetTick();

  // Si ha pasado al menos 1 segundo real (1000 ms)
  if (tick_actual - sys_ctrl.ultimo_tick >= 1000) {
    sys_ctrl.ultimo_tick = tick_actual;

    // CASO 1: MODO GPS / TIEMPO REAL
    if (!sys_ctrl.simulacion_activa) {
      // Sincronizamos con lo que diga el GPS o el reloj local normal
      sys_ctrl.tiempo_interno = tiempo_local;
    }

    // CASO 2: MODO SIMULACIÓN (Cámara Rápida)
    else {
      // Incrementamos el tiempo interno basado en la velocidad
      Incrementar_Tiempo_Simulado(&sys_ctrl.tiempo_interno, sys_ctrl.factor_velocidad);}
  }

  if (sys_ctrl.simulacion_activa){
    // Actualizamos la variable global 'tiempo_local' para que la pantalla y los cálculos usen esta hora simulada
    tiempo_local = sys_ctrl.tiempo_interno;
    int zona_horaria = (int)(gps_solar.longitud_deg / 15.0);

    // Fórmula: UTC = Local - Zona
    // Ej: 06:00 - (-5) = 11:00
    int calculo_utc_hora = sys_ctrl.tiempo_interno.hora - zona_horaria;

    // C. Normalizamos el desborde (0-23)
    if (calculo_utc_hora >= 24){
      calculo_utc_hora -= 24;}
     else if (calculo_utc_hora < 0){
      calculo_utc_hora += 24;}

    // Actualizamos la estructura solar para el cálculo astronómico
    gps_solar.utc_hora =
    calculo_utc_hora; // ajustar zona horaria si es necesario
    gps_solar.utc_min = tiempo_local.min;
    gps_solar.utc_seg = tiempo_local.seg;
    gps_solar.utc_dia = tiempo_local.dia;
    gps_solar.utc_mes = tiempo_local.mes;
    gps_solar.utc_ano = tiempo_local.ano;
  }
}

void Incrementar_Tiempo_Simulado(LocalTime_t *t, int segundos_a_sumar) {
  // Sumamos los segundos del factor de velocidad
  t->seg += segundos_a_sumar;

  // Ajuste de Segundos -> Minutos
  while (t->seg >= 60){
    t->seg -= 60;
    t->min++;}

  // Ajuste de Minutos -> Horas
  while (t->min >= 60){
    t->min -= 60;
    t->hora++;}

  // Ajuste de Horas -> Días
  while (t->hora >= 24){
    t->hora -= 24;
    t->dia++;

    // Verificamos cuántos días tiene el mes actual
    int dias_max = dias_por_mes[t->mes - 1]; // -1 porque array empieza en 0

    // Ajuste bisiesto para Febrero (Mes 2)
    if (t->mes == 2 && es_bisiesto(t->ano)){
      dias_max = 29;}

    // Ajuste de Días -> Meses
    if (t->dia > dias_max){
      t->dia = 1;
      t->mes++;

      // Ajuste de Meses -> Años
      if (t->mes > 12){
        t->mes = 1;
        t->ano++;
      }
    }
  }
}

// Función para restringir valores (Clamping)
int constrain_pwm(int valor) {
    if (valor < 500) return 500;
    if (valor > 2500) return 2500;
    return valor;}

void Actualizar_Servos(void){
    float az_real = gps_solar.azimut;
    float el_real = gps_solar.elevacion;

    //float az_real = gps_solar.azimut;
    //float el_real = 90;

    float az_objetivo_base = 0.0;
    float el_angulo_fisico = 0.0;

    // Rango Normal: El sol está entre el Este (90) y el Oeste (270), pasando por el Sur (180). En este rango, el servo azimutal puede apuntar directamente.
    if (az_real >= 90.0f && az_real <= 270.0f){
        // MODO NORMAL
        az_objetivo_base = az_real;
        el_angulo_fisico = el_real;}
    else{
        // MODO BACK-FLIP (El sol está al Norte/Noreste/Noroeste). El servo azimutal no llega, así que giramos la base 180 grados e invertimos la elevación.

        if (az_real < 90.0f){
            // Ejemplo: Sol en 45 (NE) -> Base apunta a 225 (SO)
            az_objetivo_base = az_real + 180.0f;}
        else{
            // Ejemplo: Sol en 350 (NO) -> Base apunta a 170 (SE)
            az_objetivo_base = az_real - 180.0f;}

        // Invertimos elevación: Si sol está a 10°, el servo va a 170°
        el_angulo_fisico = 180.0f - el_real;}

    float pwm_az_calc = 1500.0f + ((180.0f - az_objetivo_base) * FACTOR_CONVERSION);
    float pwm_el_calc = 500.0f + (el_angulo_fisico * FACTOR_CONVERSION);

    // Convertimos a entero y aplicamos los límites de seguridad (50-250)
    int pwm_az_final = constrain_pwm((int)pwm_az_calc);
    int pwm_el_final = constrain_pwm((int)pwm_el_calc);

    // Enviar a los motores
    __HAL_TIM_SET_COMPARE(&htim11, TIM_CHANNEL_1,pwm_az_final);
    __HAL_TIM_SET_COMPARE(&htim10, TIM_CHANNEL_1,pwm_el_final);}

void HAL_TIM_PeriodElapsedCallback(TIM_HandleTypeDef *htim){
	if (htim->Instance == TIM1){
		HAL_GPIO_TogglePin(GPIOH, GPIO_PIN_1);
		HAL_GPIO_TogglePin(LD2_GPIO_Port, LD2_Pin);}
}

void HAL_UART_RxCpltCallback(UART_HandleTypeDef *huart) {
  if (huart->Instance == USART1) {

    // Si llega un salto de línea, terminamos la frase
    if (rx_byte == '\n') {
      rx_buffer[rx_index] = '\0'; // Terminador de string

      //Copiamos al buffer de procesamiento. Esto libera rx_buffer para seguir recibiendo
      memcpy(gps_processing_buffer, rx_buffer, rx_index + 1);

      flag_gps = 1; // Avisar al main
      rx_index = 0; // Reiniciar para la próxima
    } else {
      // Guardamos dato si cabe (evitamos desbordamiento)
      if (rx_index < sizeof(rx_buffer) - 1) {
        rx_buffer[rx_index++] = rx_byte;
      } else {
        // Si se llena, reiniciamos por seguridad
        rx_index = 0;
      }
    }

    // Volvemos a activar la escucha SOLAMENTE AL FINAL
    HAL_UART_Receive_IT(&huart1, &rx_byte, 1);
  }
}

void HAL_UARTEx_RxEventCallback(UART_HandleTypeDef *huart, uint16_t Size) {
  if (huart->Instance == USART2) {
    if (currentRxBuffer == 0) { // dataBufferA acaba de terminar de recibir
      receivedDataSizeA = Size; // Guardamos tamaño específico de A
      dataBufferAready = 1; // levantamos la bandera de recepcion del buffer A
      currentRxBuffer = 1;  // cambiamos el selector de buffer
      HAL_UARTEx_ReceiveToIdle_DMA(&huart2, dataBufferB, MAXBUFFER);
    }                           // escuchamos, se guarda en el buffer B
    else {                      // dataBufferB acaba de terminar de recibir
      receivedDataSizeB = Size; // Guardamos tamaño específico de B
      dataBufferBready = 1; // levantamos la bandera de recepcion del buffer B
      currentRxBuffer = 0;  // cambiamos el selector de buffer
      HAL_UARTEx_ReceiveToIdle_DMA(&huart2, dataBufferA, MAXBUFFER);
    } // escuchamos, se guarda en el buffer A
  }
}

void HAL_UART_ErrorCallback(UART_HandleTypeDef *huart) {
  // Si ocurre un error de ruido o desbordamiento en el GPS
  if (huart->Instance == USART1) {
    // Limpiamos el error y reiniciamos la recepción forzosamente
    HAL_UART_Receive_IT(&huart1, &rx_byte, 1);
  }
}

/* USER CODE END 4 */

void Error_Handler(void)
{
  __disable_irq();
  while (1)
  {
  }
}
